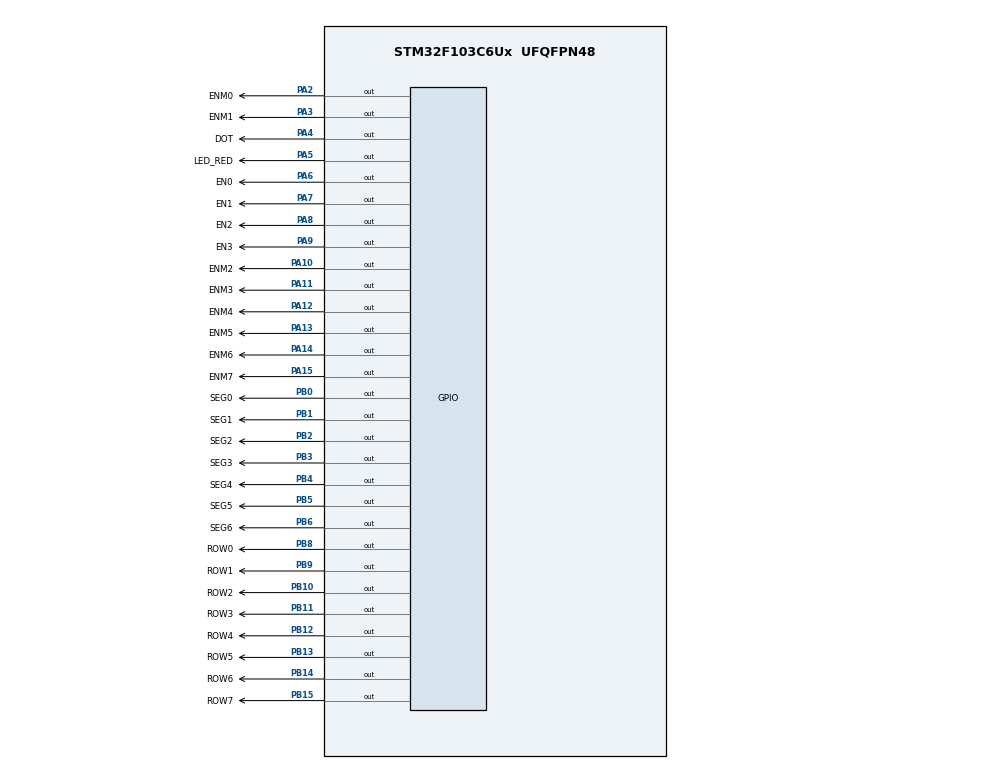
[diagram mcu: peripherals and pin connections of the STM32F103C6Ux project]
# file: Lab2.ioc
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Mcu.Family=STM32F1
Mcu.Name=STM32F103C6Ux
Mcu.Package=UFQFPN48
NVIC.PriorityGroup=NVIC_PRIORITYGROUP_4
NVIC.TIM2_IRQn=true\:0\:0\:false\:false\:true\:true\:true\:true
PA10.GPIO_Label=ENM2
PA10.PinState=GPIO_PIN_SET
PA10.Signal=GPIO_Output
PA11.GPIO_Label=ENM3
PA11.PinState=GPIO_PIN_SET
PA11.Signal=GPIO_Output
PA12.GPIO_Label=ENM4
PA12.PinState=GPIO_PIN_SET
PA12.Signal=GPIO_Output
PA13.GPIO_Label=ENM5
PA13.PinState=GPIO_PIN_SET
PA13.Signal=GPIO_Output
PA14.GPIO_Label=ENM6
PA14.PinState=GPIO_PIN_SET
PA14.Signal=GPIO_Output
PA15.GPIO_Label=ENM7
PA15.PinState=GPIO_PIN_SET
PA15.Signal=GPIO_Output
PA2.GPIO_Label=ENM0
PA2.PinState=GPIO_PIN_SET
PA2.Signal=GPIO_Output
PA3.GPIO_Label=ENM1
PA3.PinState=GPIO_PIN_SET
PA3.Signal=GPIO_Output
PA4.GPIO_Label=DOT
PA4.PinState=GPIO_PIN_SET
PA4.Signal=GPIO_Output
PA5.GPIO_Label=LED_RED
PA5.PinState=GPIO_PIN_RESET
PA5.Signal=GPIO_Output
PA6.GPIO_Label=EN0
PA6.PinState=GPIO_PIN_SET
PA6.Signal=GPIO_Output
PA7.GPIO_Label=EN1
PA7.PinState=GPIO_PIN_SET
PA7.Signal=GPIO_Output
PA8.GPIO_Label=EN2
PA8.PinState=GPIO_PIN_SET
PA8.Signal=GPIO_Output
PA9.GPIO_Label=EN3
PA9.PinState=GPIO_PIN_SET
PA9.Signal=GPIO_Output
PB0.GPIO_Label=SEG0
PB0.PinState=GPIO_PIN_SET
PB0.Signal=GPIO_Output
PB1.GPIO_Label=SEG1
PB1.PinState=GPIO_PIN_SET
PB1.Signal=GPIO_Output
PB10.GPIO_Label=ROW2
PB10.PinState=GPIO_PIN_SET
PB10.Signal=GPIO_Output
PB11.GPIO_Label=ROW3
PB11.PinState=GPIO_PIN_SET
PB11.Signal=GPIO_Output
PB12.GPIO_Label=ROW4
PB12.PinState=GPIO_PIN_SET
PB12.Signal=GPIO_Output
PB13.GPIO_Label=ROW5
PB13.PinState=GPIO_PIN_SET
PB13.Signal=GPIO_Output
PB14.GPIO_Label=ROW6
PB14.PinState=GPIO_PIN_SET
PB14.Signal=GPIO_Output
PB15.GPIO_Label=ROW7
PB15.PinState=GPIO_PIN_SET
PB15.Signal=GPIO_Output
PB2.GPIO_Label=SEG2
PB2.PinState=GPIO_PIN_SET
PB2.Signal=GPIO_Output
PB3.GPIO_Label=SEG3
PB3.PinState=GPIO_PIN_SET
PB3.Signal=GPIO_Output
PB4.GPIO_Label=SEG4
PB4.PinState=GPIO_PIN_SET
PB4.Signal=GPIO_Output
PB5.GPIO_Label=SEG5
PB5.PinState=GPIO_PIN_SET
PB5.Signal=GPIO_Output
PB6.GPIO_Label=SEG6
PB6.PinState=GPIO_PIN_SET
PB6.Signal=GPIO_Output
PB8.GPIO_Label=ROW0
PB8.PinState=GPIO_PIN_SET
PB8.Signal=GPIO_Output
PB9.GPIO_Label=ROW1
PB9.PinState=GPIO_PIN_SET
PB9.Signal=GPIO_Output
ProjectManager.HeapSize=0x200
ProjectManager.StackSize=0x400
ProjectManager.TargetToolchain=STM32CubeIDE
RCC.APB1Freq_Value=8000000
RCC.APB2Freq_Value=8000000
TIM2.Period=10
TIM2.Prescaler=7999
VP_TIM2_VS_ClockSourceINT.Mode=Internal
board=custom

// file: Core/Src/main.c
/* USER CODE BEGIN Header */
/**
  ******************************************************************************
  * @file           : main.c
  * @brief          : Main program body
  ******************************************************************************
  * @attention
  *
  * Copyright (c) 2023 STMicroelectronics.
  * All rights reserved.
  *
  * This software is licensed under terms that can be found in the LICENSE file
  * in the root directory of this software component.
  * If no LICENSE file comes with this software, it is provided AS-IS.
  *
  ******************************************************************************
  */
/* USER CODE END Header */
#include "main.h"

/* USER CODE BEGIN Includes */
#include "software_timer.h"
/* USER CODE END Includes */

TIM_HandleTypeDef htim2;

void SystemClock_Config(void);
static void MX_GPIO_Init(void);
static void MX_TIM2_Init(void);

/* USER CODE BEGIN 0 */
void display7SEG(int num){
	  switch(num){
			case 0:
				  HAL_GPIO_WritePin(GPIOB, SEG0_Pin, RESET);
				  HAL_GPIO_WritePin(GPIOB, SEG1_Pin, RESET);
				  HAL_GPIO_WritePin(GPIOB, SEG2_Pin, RESET);
				  HAL_GPIO_WritePin(GPIOB, SEG3_Pin, RESET);
				  HAL_GPIO_WritePin(GPIOB, SEG4_Pin, RESET);
				  HAL_GPIO_WritePin(GPIOB, SEG5_Pin, RESET);
				  HAL_GPIO_WritePin(GPIOB, SEG6_Pin, SET);
				  break;
			case 1:
				  HAL_GPIO_WritePin(GPIOB, SEG0_Pin, SET);
				  HAL_GPIO_WritePin(GPIOB, SEG1_Pin, RESET);
				  HAL_GPIO_WritePin(GPIOB, SEG2_Pin, RESET);
				  HAL_GPIO_WritePin(GPIOB, SEG3_Pin, SET);
				  HAL_GPIO_WritePin(GPIOB, SEG4_Pin, SET);
				  HAL_GPIO_WritePin(GPIOB, SEG5_Pin, SET);
				  HAL_GPIO_WritePin(GPIOB, SEG6_Pin, SET);
				  break;
			case 2:
				  HAL_GPIO_WritePin(GPIOB, SEG0_Pin, RESET);
				  HAL_GPIO_WritePin(GPIOB, SEG1_Pin, RESET);
				  HAL_GPIO_WritePin(GPIOB, SEG2_Pin, SET);
				  HAL_GPIO_WritePin(GPIOB, SEG3_Pin, RESET);
				  HAL_GPIO_WritePin(GPIOB, SEG4_Pin, RESET);
				  HAL_GPIO_WritePin(GPIOB, SEG5_Pin, SET);
				  HAL_GPIO_WritePin(GPIOB, SEG6_Pin, RESET);
				  break;
			case 3:
				  HAL_GPIO_WritePin(GPIOB, SEG0_Pin, RESET);
				  HAL_GPIO_WritePin(GPIOB, SEG1_Pin, RESET);
				  HAL_GPIO_WritePin(GPIOB, SEG2_Pin, RESET);
				  HAL_GPIO_WritePin(GPIOB, SEG3_Pin, RESET);
				  HAL_GPIO_WritePin(GPIOB, SEG4_Pin, SET);
				  HAL_GPIO_WritePin(GPIOB, SEG5_Pin, SET);
				  HAL_GPIO_WritePin(GPIOB, SEG6_Pin, RESET);
				  break;
			case 4:
				  HAL_GPIO_WritePin(GPIOB, SEG0_Pin, SET);
				  HAL_GPIO_WritePin(GPIOB, SEG1_Pin, RESET);
				  HAL_GPIO_WritePin(GPIOB, SEG2_Pin, RESET);
				  HAL_GPIO_WritePin(GPIOB, SEG3_Pin, SET);
				  HAL_GPIO_WritePin(GPIOB, SEG4_Pin, SET);
				  HAL_GPIO_WritePin(GPIOB, SEG5_Pin, RESET);
				  HAL_GPIO_WritePin(GPIOB, SEG6_Pin, RESET);
				  break;
			case 5:
				  HAL_GPIO_WritePin(GPIOB, SEG0_Pin, RESET);
				  HAL_GPIO_WritePin(GPIOB, SEG1_Pin, SET);
				  HAL_GPIO_WritePin(GPIOB, SEG2_Pin, RESET);
				  HAL_GPIO_WritePin(GPIOB, SEG3_Pin, RESET);
				  HAL_GPIO_WritePin(GPIOB, SEG4_Pin, SET);
				  HAL_GPIO_WritePin(GPIOB, SEG5_Pin, RESET);
				  HAL_GPIO_WritePin(GPIOB, SEG6_Pin, RESET);
				  break;
			case 6:
				  HAL_GPIO_WritePin(GPIOB, SEG0_Pin, RESET);
				  HAL_GPIO_WritePin(GPIOB, SEG1_Pin, SET);
				  HAL_GPIO_WritePin(GPIOB, SEG2_Pin, RESET);
				  HAL_GPIO_WritePin(GPIOB, SEG3_Pin, RESET);
				  HAL_GPIO_WritePin(GPIOB, SEG4_Pin, RESET);
				  HAL_GPIO_WritePin(GPIOB, SEG5_Pin, RESET);
				  HAL_GPIO_WritePin(GPIOB, SEG6_Pin, RESET);
				  break;
			case 7:
				  HAL_GPIO_WritePin(GPIOB, SEG0_Pin, RESET);
				  HAL_GPIO_WritePin(GPIOB, SEG1_Pin, RESET);
				  HAL_GPIO_WritePin(GPIOB, SEG2_Pin, RESET);
				  HAL_GPIO_WritePin(GPIOB, SEG3_Pin, SET);
				  HAL_GPIO_WritePin(GPIOB, SEG4_Pin, SET);
				  HAL_GPIO_WritePin(GPIOB, SEG5_Pin, SET);
				  HAL_GPIO_WritePin(GPIOB, SEG6_Pin, SET);
				  break;
			case 8:
				  HAL_GPIO_WritePin(GPIOB, SEG0_Pin, RESET);
				  HAL_GPIO_WritePin(GPIOB, SEG1_Pin, RESET);
				  HAL_GPIO_WritePin(GPIOB, SEG2_Pin, RESET);
				  HAL_GPIO_WritePin(GPIOB, SEG3_Pin, RESET);
				  HAL_GPIO_WritePin(GPIOB, SEG4_Pin, RESET);
				  HAL_GPIO_WritePin(GPIOB, SEG5_Pin, RESET);
				  HAL_GPIO_WritePin(GPIOB, SEG6_Pin, RESET);
				  break;
			case 9:
				  HAL_GPIO_WritePin(GPIOB, SEG0_Pin, RESET);
				  HAL_GPIO_WritePin(GPIOB, SEG1_Pin, RESET);
				  HAL_GPIO_WritePin(GPIOB, SEG2_Pin, RESET);
				  HAL_GPIO_WritePin(GPIOB, SEG3_Pin, RESET);
				  HAL_GPIO_WritePin(GPIOB, SEG4_Pin, SET);
				  HAL_GPIO_WritePin(GPIOB, SEG5_Pin, RESET);
				  HAL_GPIO_WritePin(GPIOB, SEG6_Pin, RESET);
				  break;

	  }
}
/* USER CODE END 0 */

int main(void)
{

  /* MCU Configuration--------------------------------------------------------*/

  /* Reset of all peripherals, Initializes the Flash interface and the Systick. */
  HAL_Init();

  /* Configure the system clock */
  SystemClock_Config();

  /* Initialize all configured peripherals */
  MX_GPIO_Init();
  MX_TIM2_Init();
  /* USER CODE BEGIN 2 */
  HAL_TIM_Base_Start_IT(&htim2);
  setTimer(0,100);
  setTimer(1, 25);
  setTimer(2, 100);
  setTimer(3, 100);
  setTimer(4, 1);
  const int MAX_LED = 4;
  int index_led = 0;
  int led_buffer [4] = {1 , 5 , 0 , 8};
  void update7SEG (int index) {
	  display7SEG(led_buffer[index]);
	  switch (index){
	  case 0:
		  HAL_GPIO_WritePin(GPIOA, EN0_Pin, RESET);
		  HAL_GPIO_WritePin(GPIOA, EN1_Pin, SET);
		  HAL_GPIO_WritePin(GPIOA, EN2_Pin, SET);
		  HAL_GPIO_WritePin(GPIOA, EN3_Pin, SET);
		  break;
	  case 1:
		  HAL_GPIO_WritePin(GPIOA, EN0_Pin, SET);
		  HAL_GPIO_WritePin(GPIOA, EN1_Pin, RESET);
		  HAL_GPIO_WritePin(GPIOA, EN2_Pin, SET);
		  HAL_GPIO_WritePin(GPIOA, EN3_Pin, SET);
		  break;
	  case 2:
		  HAL_GPIO_WritePin(GPIOA, EN0_Pin, SET);
		  HAL_GPIO_WritePin(GPIOA, EN1_Pin, SET);
		  HAL_GPIO_WritePin(GPIOA, EN2_Pin, RESET);
		  HAL_GPIO_WritePin(GPIOA, EN3_Pin, SET);
		  break;
	  case 3:
		  HAL_GPIO_WritePin(GPIOA, EN0_Pin, SET);
		  HAL_GPIO_WritePin(GPIOA, EN1_Pin, SET);
		  HAL_GPIO_WritePin(GPIOA, EN2_Pin, SET);
		  HAL_GPIO_WritePin(GPIOA, EN3_Pin, RESET);
		  break;
	  default:
		  break;
	  }
  };
	int hour = 15, minute = 8, second = 50;
	void updateClockBuffer(){
		led_buffer[0] = hour / 10;
		led_buffer[1] = hour % 10;
		led_buffer[2] = minute / 10;
		led_buffer[3] = minute % 10;
	}
	void clearCols(){
		HAL_GPIO_WritePin(GPIOA, ENM0_Pin|ENM1_Pin|ENM2_Pin|ENM3_Pin|ENM4_Pin|ENM5_Pin|ENM6_Pin|ENM7_Pin, GPIO_PIN_SET);
      }
      void clearRows(){
    	  HAL_GPIO_WritePin(GPIOB, ROW0_Pin|ROW1_Pin|ROW2_Pin|ROW3_Pin|ROW4_Pin|ROW5_Pin|ROW6_Pin|ROW7_Pin, GPIO_PIN_SET);
      }
      void setRow(uint8_t code){
    	  if((code >> 0) & 0x01)
    		  HAL_GPIO_WritePin(ROW7_GPIO_Port, ROW7_Pin, RESET);
    	  if((code >> 1) & 0x01)
    		  HAL_GPIO_WritePin(ROW6_GPIO_Port, ROW6_Pin, RESET);
    	  if((code >> 2) & 0x01)
    		  HAL_GPIO_WritePin(ROW5_GPIO_Port, ROW5_Pin, RESET);
    	  if((code >> 3) & 0x01)
    		  HAL_GPIO_WritePin(ROW4_GPIO_Port, ROW4_Pin, RESET);
    	  if((code >> 4) & 0x01)
    		  HAL_GPIO_WritePin(ROW3_GPIO_Port, ROW3_Pin, RESET);
		  if((code >> 5) & 0x01)
			  HAL_GPIO_WritePin(ROW2_GPIO_Port, ROW2_Pin, RESET);
		  if((code >> 6) & 0x01)
			  HAL_GPIO_WritePin(ROW1_GPIO_Port, ROW1_Pin, RESET);
		  if((code >> 7) & 0x01)
			  HAL_GPIO_WritePin(ROW0_GPIO_Port, ROW0_Pin, RESET);
      }
      int initCol = 3;
      const int MAX_LED_MATRIX = 8;
      int index_led_matrix = 0;
      int currentState = 3;
      uint8_t matrix_buffer[8] = {0x00, 0x3E, 0x48, 0x88, 0X88, 0x48, 0x3E, 0x00};
      void updateLEDMatrix(int state){
    	  if(state < 0) return;
    	  	clearCols();
      		clearRows();
      	switch(state){
      		case 0:
      			HAL_GPIO_WritePin(GPIOA, ENM0_Pin, RESET);
      			break;
      		case 1:
      			HAL_GPIO_WritePin(GPIOA, ENM1_Pin, RESET);
      			break;
      		case 2:
      			HAL_GPIO_WritePin(GPIOA, ENM2_Pin, RESET);
      			break;
      		case 3:
      			HAL_GPIO_WritePin(GPIOA, ENM3_Pin, RESET);
      			break;
      		case 4:
      			HAL_GPIO_WritePin(GPIOA, ENM4_Pin, RESET);
      			break;
      		case 5:
      			HAL_GPIO_WritePin(GPIOA, ENM5_Pin, RESET);
      			break;
      		case 6:
      			HAL_GPIO_WritePin(GPIOA, ENM6_Pin, RESET);
      			break;
      		case 7:
      			HAL_GPIO_WritePin(GPIOA, ENM7_Pin, RESET);
      			break;
      		default:
      			break;
      	}
      	setRow(matrix_buffer[index_led_matrix]);
      }
  /* USER CODE END 2 */

  /* Infinite loop */
  while (1)
  {

    /* USER CODE BEGIN 3 */
	if(timerFlag[0] == 1){
		HAL_GPIO_TogglePin(GPIOA, LED_RED_Pin);
		setTimer(0, 100);
	}
	if(timerFlag[1] == 1){
		update7SEG(index_led++);
		if(index_led > 3) index_led = 0;
		setTimer(1, 25);
	}
	if(timerFlag[2] == 1){
	  HAL_GPIO_TogglePin(GPIOA, DOT_Pin);
	  setTimer(2, 100);
	}
	if(timerFlag[3] == 1){
		second++;
		if(second >= 60){
		  second = 0;
		  minute++;
		}
		if(minute >= 60){
		  minute = 0;
		  hour++;
		}
		if(hour >= 24) hour = 0;
		updateClockBuffer();
		setTimer(3, 100);
	}
	  if(timerFlag[4] == 1){
		  updateLEDMatrix(currentState++);
		  index_led_matrix++;
		  if(index_led_matrix >= MAX_LED_MATRIX){
			  initCol = (initCol - 1);
			  if(initCol == -8 ) initCol = 7;
			  currentState = initCol;
			  index_led_matrix = 0;

		  }
		  setTimer(4, 1);
	  }
  }
  /* USER CODE END 3 */
}

void SystemClock_Config(void)
{
  RCC_OscInitTypeDef RCC_OscInitStruct = {0};
  RCC_ClkInitTypeDef RCC_ClkInitStruct = {0};

  /** Initializes the RCC Oscillators according to the specified parameters
  * in the RCC_OscInitTypeDef structure.
  */
  RCC_OscInitStruct.OscillatorType = RCC_OSCILLATORTYPE_HSI;
  RCC_OscInitStruct.HSIState = RCC_HSI_ON;
  RCC_OscInitStruct.HSICalibrationValue = RCC_HSICALIBRATION_DEFAULT;
  RCC_OscInitStruct.PLL.PLLState = RCC_PLL_NONE;
  if (HAL_RCC_OscConfig(&RCC_OscInitStruct) != HAL_OK)
  {
    Error_Handler();
  }

  /** Initializes the CPU, AHB and APB buses clocks
  */
  RCC_ClkInitStruct.ClockType = RCC_CLOCKTYPE_HCLK|RCC_CLOCKTYPE_SYSCLK
                              |RCC_CLOCKTYPE_PCLK1|RCC_CLOCKTYPE_PCLK2;
  RCC_ClkInitStruct.SYSCLKSource = RCC_SYSCLKSOURCE_HSI;
  RCC_ClkInitStruct.AHBCLKDivider = RCC_SYSCLK_DIV1;
  RCC_ClkInitStruct.APB1CLKDivider = RCC_HCLK_DIV1;
  RCC_ClkInitStruct.APB2CLKDivider = RCC_HCLK_DIV1;

  if (HAL_RCC_ClockConfig(&RCC_ClkInitStruct, FLASH_LATENCY_0) != HAL_OK)
  {
    Error_Handler();
  }
}

static void MX_TIM2_Init(void)
{

  TIM_ClockConfigTypeDef sClockSourceConfig = {0};
  TIM_MasterConfigTypeDef sMasterConfig = {0};

  htim2.Instance = TIM2;
  htim2.Init.Prescaler = 7999;
  htim2.Init.CounterMode = TIM_COUNTERMODE_UP;
  htim2.Init.Period = 10;
  htim2.Init.ClockDivision = TIM_CLOCKDIVISION_DIV1;
  htim2.Init.AutoReloadPreload = TIM_AUTORELOAD_PRELOAD_DISABLE;
  if (HAL_TIM_Base_Init(&htim2) != HAL_OK)
  {
    Error_Handler();
  }
  sClockSourceConfig.ClockSource = TIM_CLOCKSOURCE_INTERNAL;
  if (HAL_TIM_ConfigClockSource(&htim2, &sClockSourceConfig) != HAL_OK)
  {
    Error_Handler();
  }
  sMasterConfig.MasterOutputTrigger = TIM_TRGO_RESET;
  sMasterConfig.MasterSlaveMode = TIM_MASTERSLAVEMODE_DISABLE;
  if (HAL_TIMEx_MasterConfigSynchronization(&htim2, &sMasterConfig) != HAL_OK)
  {
    Error_Handler();
  }

}

static void MX_GPIO_Init(void)
{
  GPIO_InitTypeDef GPIO_InitStruct = {0};

  /* GPIO Ports Clock Enable */
  __HAL_RCC_GPIOA_CLK_ENABLE();
  __HAL_RCC_GPIOB_CLK_ENABLE();

  /*Configure GPIO pin Output Level */
  HAL_GPIO_WritePin(GPIOA, ENM0_Pin|ENM1_Pin|DOT_Pin|EN0_Pin
                          |EN1_Pin|EN2_Pin|EN3_Pin|ENM2_Pin
                          |ENM3_Pin|ENM4_Pin|ENM5_Pin|ENM6_Pin
                          |ENM7_Pin, GPIO_PIN_SET);

  /*Configure GPIO pin Output Level */
  HAL_GPIO_WritePin(LED_RED_GPIO_Port, LED_RED_Pin, GPIO_PIN_RESET);

  /*Configure GPIO pin Output Level */
  HAL_GPIO_WritePin(GPIOB, SEG0_Pin|SEG1_Pin|SEG2_Pin|ROW2_Pin
                          |ROW3_Pin|ROW4_Pin|ROW5_Pin|ROW6_Pin
                          |ROW7_Pin|SEG3_Pin|SEG4_Pin|SEG5_Pin
                          |SEG6_Pin|ROW0_Pin|ROW1_Pin, GPIO_PIN_SET);

  /*Configure GPIO pins : ENM0_Pin ENM1_Pin DOT_Pin LED_RED_Pin
                           EN0_Pin EN1_Pin EN2_Pin EN3_Pin
                           ENM2_Pin ENM3_Pin ENM4_Pin ENM5_Pin
                           ENM6_Pin ENM7_Pin */
  GPIO_InitStruct.Pin = ENM0_Pin|ENM1_Pin|DOT_Pin|LED_RED_Pin
                          |EN0_Pin|EN1_Pin|EN2_Pin|EN3_Pin
                          |ENM2_Pin|ENM3_Pin|ENM4_Pin|ENM5_Pin
                          |ENM6_Pin|ENM7_Pin;
  GPIO_InitStruct.Mode = GPIO_MODE_OUTPUT_PP;
  GPIO_InitStruct.Pull = GPIO_NOPULL;
  GPIO_InitStruct.Speed = GPIO_SPEED_FREQ_LOW;
  HAL_GPIO_Init(GPIOA, &GPIO_InitStruct);

  /*Configure GPIO pins : SEG0_Pin SEG1_Pin SEG2_Pin ROW2_Pin
                           ROW3_Pin ROW4_Pin ROW5_Pin ROW6_Pin
                           ROW7_Pin SEG3_Pin SEG4_Pin SEG5_Pin
                           SEG6_Pin ROW0_Pin ROW1_Pin */
  GPIO_InitStruct.Pin = SEG0_Pin|SEG1_Pin|SEG2_Pin|ROW2_Pin
                          |ROW3_Pin|ROW4_Pin|ROW5_Pin|ROW6_Pin
                          |ROW7_Pin|SEG3_Pin|SEG4_Pin|SEG5_Pin
                          |SEG6_Pin|ROW0_Pin|ROW1_Pin;
  GPIO_InitStruct.Mode = GPIO_MODE_OUTPUT_PP;
  GPIO_InitStruct.Pull = GPIO_NOPULL;
  GPIO_InitStruct.Speed = GPIO_SPEED_FREQ_LOW;
  HAL_GPIO_Init(GPIOB, &GPIO_InitStruct);

}

/* USER CODE BEGIN 4 */
void HAL_TIM_PeriodElapsedCallback(TIM_HandleTypeDef *htim)
{
	timerRun(0);
	timerRun(1);
	timerRun(2);
	timerRun(3);
	timerRun(4);
}
/* USER CODE END 4 */

void Error_Handler(void)
{
  __disable_irq();
  while (1)
  {
  }
}
